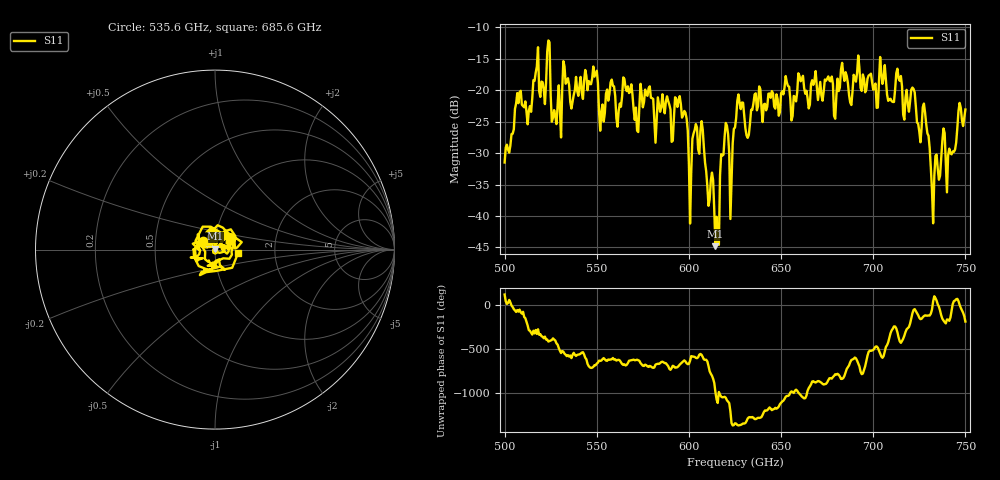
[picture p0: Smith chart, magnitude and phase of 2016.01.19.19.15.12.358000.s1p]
!Created with skrf (http://scikit-rf.org).
# GHz S RI R 50.0
!freq ReS11 ImS11
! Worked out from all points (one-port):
!   401 points, 500 GHz to 750 GHz, reference 50 ohm
!   lowest |S11| = -44.8 dB at 614.4 GHz (marker M1), VSWR 1.01, Z = 50 + j0.575 ohm
!   |S11| at or under -10 dB: start of sweep to end of sweep
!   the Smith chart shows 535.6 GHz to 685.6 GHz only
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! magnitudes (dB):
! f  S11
! 500 GHz  -31.5
! 513.8 GHz  -22.5
! 516.9 GHz  -17.2
! 520.6 GHz  -18.7
! 523.8 GHz  -12.1
! 526.9 GHz  -23.2
! 531.2 GHz  -19.9
! 548.8 GHz  -17.8
! 552.5 GHz  -23.4
! 558.1 GHz  -18.3
! 562.5 GHz  -22.1
! 593.8 GHz  -22.6
! 600.6 GHz  -41.2
! 603.1 GHz  -26.3
! 607.5 GHz  -26.3
! 614.4 GHz  -44.8
! 615.6 GHz  -43.9
! 619.4 GHz  -27.3
! 623.1 GHz  -34.3
! 625 GHz  -25.9
! 656.2 GHz  -24.1
! 660.6 GHz  -18.6
! 687.5 GHz  -21.9
! 705 GHz  -19.0
! 718.8 GHz  -22.2
! 728.1 GHz  -23.6
! 732.5 GHz  -41.2
! 750 GHz  -23.1
